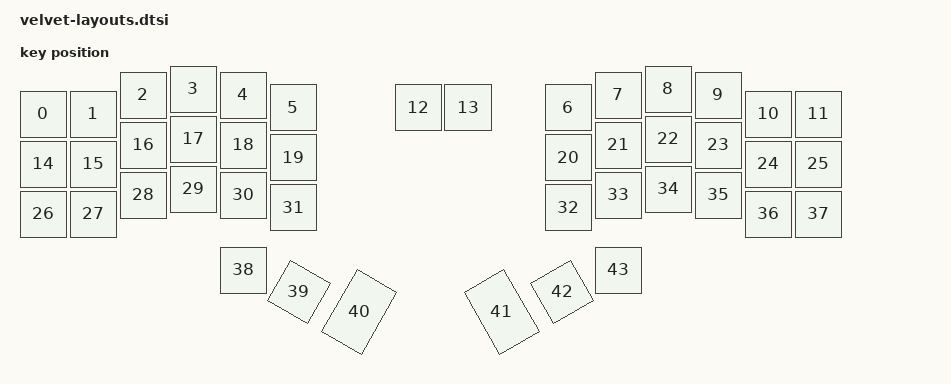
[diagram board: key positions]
#include <physical_layouts.dtsi>

/ {
    velvet_layout: velvet_layout {
        compatible = "zmk,physical-layout";
        display-name = "Layout";
        transform = <&default_transform>;

        keys  //                     w   h    x    y     rot    rx    ry
            = <&key_physical_attrs 100 100    0   50       0     0     0>
            , <&key_physical_attrs 100 100  100   50       0     0     0>
            , <&key_physical_attrs 100 100  200   12       0     0     0>
            , <&key_physical_attrs 100 100  300    0       0     0     0>
            , <&key_physical_attrs 100 100  400   12       0     0     0>
            , <&key_physical_attrs 100 100  500   37       0     0     0>
            , <&key_physical_attrs 100 100 1050   37       0     0     0>
            , <&key_physical_attrs 100 100 1150   12       0     0     0>
            , <&key_physical_attrs 100 100 1250    0       0     0     0>
            , <&key_physical_attrs 100 100 1350   12       0     0     0>
            , <&key_physical_attrs 100 100 1450   50       0     0     0>
            , <&key_physical_attrs 100 100 1550   50       0     0     0>
            , <&key_physical_attrs 100 100  750   37       0     0     0>
            , <&key_physical_attrs 100 100  850   37       0     0     0>
            , <&key_physical_attrs 100 100    0  150       0     0     0>
            , <&key_physical_attrs 100 100  100  150       0     0     0>
            , <&key_physical_attrs 100 100  200  112       0     0     0>
            , <&key_physical_attrs 100 100  300  100       0     0     0>
            , <&key_physical_attrs 100 100  400  112       0     0     0>
            , <&key_physical_attrs 100 100  500  137       0     0     0>
            , <&key_physical_attrs 100 100 1050  137       0     0     0>
            , <&key_physical_attrs 100 100 1150  112       0     0     0>
            , <&key_physical_attrs 100 100 1250  100       0     0     0>
            , <&key_physical_attrs 100 100 1350  112       0     0     0>
            , <&key_physical_attrs 100 100 1450  150       0     0     0>
            , <&key_physical_attrs 100 100 1550  150       0     0     0>
            , <&key_physical_attrs 100 100    0  250       0     0     0>
            , <&key_physical_attrs 100 100  100  250       0     0     0>
            , <&key_physical_attrs 100 100  200  212       0     0     0>
            , <&key_physical_attrs 100 100  300  200       0     0     0>
            , <&key_physical_attrs 100 100  400  212       0     0     0>
            , <&key_physical_attrs 100 100  500  237       0     0     0>
            , <&key_physical_attrs 100 100 1050  237       0     0     0>
            , <&key_physical_attrs 100 100 1150  212       0     0     0>
            , <&key_physical_attrs 100 100 1250  200       0     0     0>
            , <&key_physical_attrs 100 100 1350  212       0     0     0>
            , <&key_physical_attrs 100 100 1450  250       0     0     0>
            , <&key_physical_attrs 100 100 1550  250       0     0     0>
            , <&key_physical_attrs 100 100  400  362       0     0     0>
            , <&key_physical_attrs 100 100  550  362    3000   500   362>
            , <&key_physical_attrs 100 150  675  312    3000   500   362>
            , <&key_physical_attrs 100 150  875  312 (-3000)  1150   362>
            , <&key_physical_attrs 100 100 1000  362 (-3000)  1150   362>
            , <&key_physical_attrs 100 100 1150  362       0     0     0>
            ;
    };
};
